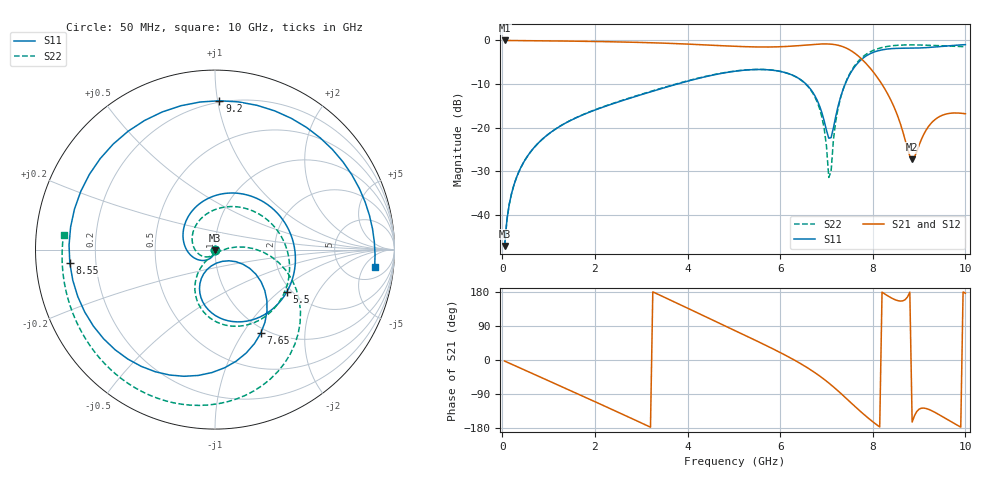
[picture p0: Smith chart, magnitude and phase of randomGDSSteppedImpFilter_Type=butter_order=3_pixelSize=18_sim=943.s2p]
! freq	dB(S11)	phase(S11)	dB(S12)	phase(S12)
!  dB(S21)	phase(S21)	dB(S22)	phase(S22)
!S-par simulation data
#  GHz  S  DB  R 50
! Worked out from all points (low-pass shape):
!   200 points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, 50 MHz to 10 GHz, reference 50 ohm
!   highest |S21| = -0.01 dB at 50 MHz (marker M1); lowest = -27.3 dB at 8.85 GHz (marker M2)
!   |S21| within 3 dB of the highest: start of sweep to 7.62 GHz
!   lowest |S11| = -47.1 dB at 50 MHz (marker M3), VSWR 1.01, Z = 50 - j0.441 ohm
!   |S11| at or under -10 dB: start of sweep to 3.773 GHz; 6.559 GHz to 7.404 GHz (845.2 MHz wide, 12.1 % of centre)
!   |S22| runs from -47.1 to -1.0 dB; largest |S21 - S12| = 0
!   S11 on the Smith chart (normalised r, x): 50 MHz: 1.00, -0.01; 5.5 GHz: 1.90, -1.13; 7.65 GHz: 0.93, -1.21; 8.55 GHz: 0.10, -0.05; 9.2 GHz: 0.19, +1.01; 10 GHz: 9, -9
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0.05  -47.10 -88.0  -0.01 -2.8  -0.01 -2.8  -47.12 -89.1
0.2  -35.06 -97.8  -0.02 -11.0  -0.02 -11.0  -35.09 -102.4
0.5  -27.21 -112.3  -0.04 -27.5  -0.04 -27.5  -27.24 -123.6
1.75  -16.99 -168.6  -0.20 -96.1  -0.20 -96.1  -16.95 153.7
2.65  -13.59 146.8  -0.37 -146.2  -0.37 -146.2  -13.51 98.1
3.4  -11.14 103.9  -0.59 171.3  -0.59 171.3  -11.05 56.3
4.3  -8.53 47.1  -0.98 119.5  -0.98 119.5  -8.46 10.6
5.05  -7.02 -1.4  -1.36 76.1  -1.36 76.1  -6.98 -26.4
5.5  -6.66 -30.3  -1.50 49.9  -1.50 49.9  -6.63 -48.8
6.2  -7.67 -76.0  -1.34 7.0  -1.34 7.0  -7.68 -85.9
6.7  -11.80 -109.2  -0.93 -29.2  -0.93 -29.2  -12.01 -116.5
6.95  -18.39 -111.9  -0.80 -51.0  -0.80 -51.0  -20.12 -129.2
7.05  -22.40 -84.1  -0.82 -60.7  -0.82 -60.7  -31.38 -100.9
7.3  -13.15 -28.4  -1.24 -87.0  -1.24 -87.0  -13.33 1.4
7.65  -5.50 -61.3  -3.25 -126.5  -3.25 -126.5  -5.22 -31.1
8  -2.78 -103.7  -7.08 -162.9  -7.08 -162.9  -2.33 -62.8
8.35  -1.93 -147.8  -12.82 167.3  -12.82 167.3  -1.32 -89.0
8.55  -1.81 -174.7  -17.67 156.4  -17.67 156.4  -1.10 -102.1
8.85  -1.76 141.5  -27.26 -163.8  -27.26 -163.8  -1.02 -120.0
9.2  -1.62 88.3  -19.76 -130.0  -19.76 -130.0  -1.11 -139.5
9.6  -1.27 34.4  -16.82 -156.2  -16.82 -156.2  -1.27 -161.6
10  -0.96 -6.2  -16.80 176.2  -16.80 176.2  -1.44 174.3
